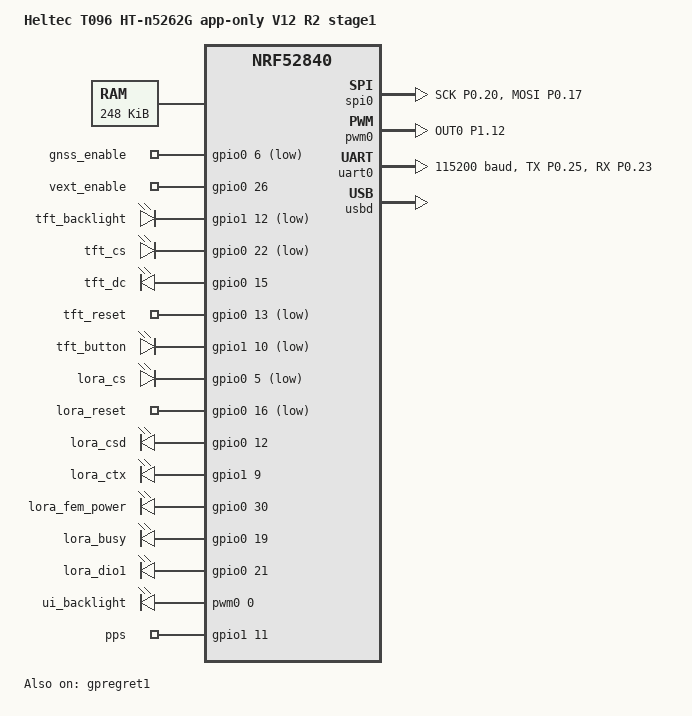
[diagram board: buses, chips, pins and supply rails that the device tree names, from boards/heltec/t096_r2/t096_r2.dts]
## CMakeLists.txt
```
cmake_minimum_required(VERSION 3.20.0)
list(APPEND BOARD_ROOT ${CMAKE_CURRENT_SOURCE_DIR})
# Fund the GM7 normal+fatal interrupt reserve; bounded crash record uses512B retained RAM.
# DC/PC and explicit historical regression keep their original configuration.
if(NOT R2_DC_PROFILE AND NOT R2_PC_PROFILE AND NOT R2_LEGACY_GM_REGRESSION)
 if(DEFINED CONFIG_ISR_STACK_SIZE AND CONFIG_ISR_STACK_SIZE LESS 3072)
  message(FATAL_ERROR "GM7 requires at least3072B ISR stack for bounded fatal capture")
 endif()
 set(CONFIG_ISR_STACK_SIZE 3072 CACHE STRING "GM7 normal and fatal interrupt reserve")
 if(DEFINED CONFIG_EXTRA_EXCEPTION_INFO AND NOT CONFIG_EXTRA_EXCEPTION_INFO)
  message(FATAL_ERROR "GM7 requires fault-entry integer register capture")
 endif()
 set(CONFIG_EXTRA_EXCEPTION_INFO y CACHE STRING "GM7 fault-entry integer registers")
endif()
find_package(Zephyr REQUIRED HINTS $ENV{ZEPHYR_BASE})
# One RC7 application, two runtime roles (GM and RC). USB export is standard.
if(NOT R2_DC_PROFILE AND NOT R2_PC_PROFILE)
 set(R2_RC_PROFILE ON)
endif()
set(R2_USB_SOURCE_STREAM ON)
set(R2_USB_SOF_PROBE ON)
set(R2_USB_REFERENCE_PROBE ON)
project(ptob_t096 VERSION 0.15.338)
option(R2_LEGACY_GM_REGRESSION "Historical GM5/6 regression backend only" OFF)
if(R2_DC_PROFILE OR R2_PC_PROFILE)
 set(R2_GM7_NATIVE OFF)
elseif(R2_LEGACY_GM_REGRESSION)
 set(R2_GM7_NATIVE OFF)
else()
 set(R2_GM7_NATIVE ON)
endif()
option(R2_LORA_PASSIVE_FAST "Explicit default-off RAM_LAB_4_12 image" OFF)
option(R2_LORA_TX_DIAGNOSTIC "Finite non-timing passive PHY TX diagnostic" OFF)
option(R2_LORA_BW_EXPERIMENT "Finite default-off SF7 bandwidth characterization" OFF)
option(R2_LORA_FIXED500_EXPERIMENT "Matched fixed922.4MHz SF11/CR4/8 experiment" OFF)
set(R2_LORA_FIXED500_EVENT_DELAY_NS "0" CACHE STRING "Frozen prior fixed500 event correction in nanoseconds")
if(NOT R2_LORA_FIXED500_EVENT_DELAY_NS MATCHES "^-?[0-9]+$" OR R2_LORA_FIXED500_EVENT_DELAY_NS LESS -1000000000 OR R2_LORA_FIXED500_EVENT_DELAY_NS GREATER 1000000000)
 message(FATAL_ERROR "Fixed500 event correction must be an integer within one second")
endif()
if(NOT R2_LORA_FIXED500_EXPERIMENT AND NOT R2_LORA_FIXED500_EVENT_DELAY_NS EQUAL 0)
 message(FATAL_ERROR "Event correction requires the fixed500 experiment")
endif()
if(R2_LORA_FIXED500_EXPERIMENT AND (NOT R2_LORA_PASSIVE_SLOW OR R2_LORA_PASSIVE_FAST OR R2_LORA_BW_EXPERIMENT OR R2_LORA_TX_DIAGNOSTIC OR R2_DC_PROFILE OR R2_PC_PROFILE))
 message(FATAL_ERROR "Fixed500 requires slow normal GM/RC without another experiment")
endif()
if(R2_LORA_BW_EXPERIMENT AND ((NOT R2_LORA_PASSIVE_FAST AND NOT R2_LORA_PASSIVE_SLOW) OR R2_LORA_TX_DIAGNOSTIC OR R2_DC_PROFILE OR R2_PC_PROFILE))
 message(FATAL_ERROR "Bandwidth experiment requires one normal passive schedule without diagnostic TX")
endif()
if(R2_LORA_TX_DIAGNOSTIC AND (NOT R2_LORA_PASSIVE_FAST OR R2_LORA_PASSIVE_SLOW OR R2_DC_PROFILE OR R2_PC_PROFILE))
 message(FATAL_ERROR "Diagnostic TX requires explicit normal passive fast")
endif()
option(R2_LORA_PASSIVE_SLOW "Production30/120/300, default RX, local TX recovery" OFF)
if(R2_LORA_PASSIVE_FAST AND R2_LORA_PASSIVE_SLOW)
 message(FATAL_ERROR "Select one passive schedule")
endif()
if((R2_LORA_PASSIVE_FAST OR R2_LORA_PASSIVE_SLOW) AND (R2_DC_PROFILE OR R2_PC_PROFILE))
 message(FATAL_ERROR "Passive lab image requires normal GM/RC")
endif()
if(NOT DEFINED R2_LORA_BACKUP_TRANSMITTER_FACTORY)
 set(R2_LORA_BACKUP_TRANSMITTER_FACTORY "0000000000000000")
endif()
string(LENGTH "${R2_LORA_BACKUP_TRANSMITTER_FACTORY}" R2_LORA_BACKUP_LENGTH)
if(NOT R2_LORA_BACKUP_LENGTH EQUAL 16 OR NOT R2_LORA_BACKUP_TRANSMITTER_FACTORY MATCHES "^[0-9a-f]+$")
 message(FATAL_ERROR "Backup LoRa factory must be16 lowercase hex digits")
endif()
option(R2_CONTROLLER_DIAGNOSTICS "Bounded controller diagnostic canary" OFF)
if(R2_CONTROLLER_DIAGNOSTICS AND (R2_DC_PROFILE OR R2_PC_PROFILE))
 message(FATAL_ERROR "Controller diagnostic canary requires normal GM/RC")
endif()
if(R2_DC_PROFILE AND R2_PC_PROFILE)
 message(FATAL_ERROR "DC and PC are separate images")
endif()
if(NOT DEFINED R2_LORA_TRANSMITTER_FACTORY)
 set(R2_LORA_TRANSMITTER_FACTORY "0000000000000000")
endif()
string(LENGTH "${R2_LORA_TRANSMITTER_FACTORY}" R2_LORA_FACTORY_LENGTH)
if(NOT R2_LORA_FACTORY_LENGTH EQUAL 16 OR NOT R2_LORA_TRANSMITTER_FACTORY MATCHES "^[0-9a-f]+$")
 message(FATAL_ERROR "LoRa transmitter factory must be exactly16 lowercase hex digits")
endif()
if(R2_PC_PROFILE)
 include(cmake/power_control.cmake)
 return()
endif()
if(R2_DC_PROFILE)
 include(cmake/direct_connect.cmake)
 return()
endif()
if(R2_USB_SOURCE_STREAM)
 if(NOT R2_USB_SOF_PROBE)
  message(FATAL_ERROR "USB source evidence requires hardware SOF profile")
 endif()
 target_compile_definitions(app PRIVATE R2_USB_SOURCE_STREAM=1)
 target_sources(app PRIVATE src/usb_source.c)
endif()
if(R2_USB_REFERENCE_PROBE)
 if(NOT R2_RC_PROFILE)
  message(FATAL_ERROR "USB API probe requires the separately reviewed RC profile")
 endif()
 target_sources(app PRIVATE src/usb_reference_interface.c)
endif()
if(R2_USB_SOF_PROBE)
 if(NOT R2_USB_REFERENCE_PROBE)
  message(FATAL_ERROR "Raw SOF probe requires the reviewed USB reference interface")
 endif()
 target_compile_definitions(app PRIVATE R2_USB_SOF_PROBE=1)
 target_sources(app PRIVATE src/usb_sof_probe.c src/usb_sof_observer.c)
endif()
foreach(pair R2_SOURCE_SHA R2_CHILD_COMMIT)
  if(NOT ${pair} MATCHES "^[0-9a-f]+$")
    message(FATAL_ERROR "Use v12_r2/tools/build.py for identity-bound builds")
  endif()
endforeach()
if(NOT EXISTS "${R2_ENROLLMENT_HEADER}")
  message(FATAL_ERROR "Local enrollment header required; never include secrets in public source")
endif()
file(SHA256 "${R2_ENROLLMENT_HEADER}" R2_PRIVATE_CONFIG_SHA)
if(NOT R2_LORA_TRANSMITTER_FACTORY STREQUAL "0000000000000000")
 string(SHA256 R2_PRIVATE_CONFIG_SHA "${R2_PRIVATE_CONFIG_SHA}:lora-tx:${R2_LORA_TRANSMITTER_FACTORY}")
endif()
if(R2_LORA_PASSIVE_FAST)
 string(SHA256 R2_PRIVATE_CONFIG_SHA "${R2_PRIVATE_CONFIG_SHA}:lora-passive:RAM_LAB_4_12")
endif()
if(NOT R2_LORA_BACKUP_TRANSMITTER_FACTORY STREQUAL "0000000000000000")
 message(FATAL_ERROR "RAM profile has one designated emitter; automatic backup TX disabled")
endif()
if(R2_LORA_PASSIVE_SLOW)
 string(SHA256 R2_PRIVATE_CONFIG_SHA "${R2_PRIVATE_CONFIG_SHA}:lora-passive:RAM_30_120_300")
 target_compile_definitions(app PRIVATE R2_LORA_PASSIVE_SLOW=1 R2_LORA_BACKUP_TRANSMITTER_FACTORY=0x${R2_LORA_BACKUP_TRANSMITTER_FACTORY}ULL)
endif()
if(R2_LORA_TX_DIAGNOSTIC)
 string(SHA256 R2_PRIVATE_CONFIG_SHA "${R2_PRIVATE_CONFIG_SHA}:tx-diagnostic:1")
 target_compile_definitions(app PRIVATE R2_LORA_TX_DIAGNOSTIC=1)
endif()
if(R2_LORA_FIXED500_EXPERIMENT)
 string(SHA256 R2_PRIVATE_CONFIG_SHA "${R2_PRIVATE_CONFIG_SHA}:fixed500:922400000_SF11_CR8_P30_M300")
 string(SHA256 R2_PRIVATE_CONFIG_SHA "${R2_PRIVATE_CONFIG_SHA}:event-delay-ns:${R2_LORA_FIXED500_EVENT_DELAY_NS}")
 target_compile_definitions(app PRIVATE R2_LORA_FIXED500_EXPERIMENT=1 R2_LORA_FIXED500_EVENT_DELAY_NS=${R2_LORA_FIXED500_EVENT_DELAY_NS})
endif()
if(R2_LORA_BW_EXPERIMENT)
 if(R2_LORA_PASSIVE_SLOW)
  string(SHA256 R2_PRIVATE_CONFIG_SHA "${R2_PRIVATE_CONFIG_SHA}:bw-experiment:SWEEP_SF7_SLOW30_600S_FIXED16_48")
 else()
  string(SHA256 R2_PRIVATE_CONFIG_SHA "${R2_PRIVATE_CONFIG_SHA}:bw-experiment:ABBA_SF7_240S")
 endif()
 target_compile_definitions(app PRIVATE R2_LORA_BW_EXPERIMENT=1)
endif()
file(SHA256 "${PROJECT_BINARY_DIR}/zephyr/.config" R2_KERNEL_CONFIG_SHA)
if(R2_CONTROLLER_DIAGNOSTICS)
 string(SHA256 R2_PRIVATE_CONFIG_SHA "${R2_PRIVATE_CONFIG_SHA}:controller-diag:1")
endif()
string(SHA256 R2_WATCHDOG_BINDING "${R2_SOURCE_SHA}:${R2_PRIVATE_CONFIG_SHA}:${R2_KERNEL_CONFIG_SHA}")
set(R2_CONTROLLER_DIAGNOSTICS_ENABLED ${R2_CONTROLLER_DIAGNOSTICS})
configure_file(include/build_identity.h.in ${CMAKE_CURRENT_BINARY_DIR}/build_identity.h @ONLY)
target_include_directories(app PRIVATE include ${CMAKE_CURRENT_BINARY_DIR})
target_sources(app PRIVATE src/main.c src/board.c src/console.c src/core.c src/bounded_json.c src/platform.c src/clock.c src/nmea.c src/time_service.c src/gnss.c src/ui_render.c src/ui_service.c src/display.c src/timing_events.c src/initiator_diag.c)
target_sources(app PRIVATE src/precision.c src/capture.c src/radio_capture.c src/radio_audit.c src/rc_boundary.c src/rc_shadow.c protocol/precision_codec.c)
if(R2_GM7_NATIVE AND R2_LORA_FIXED500_EXPERIMENT AND CMAKE_C_COMPILER_ID STREQUAL "GNU")
 # Retain generated assertion locations without embedding the local build path.
 zephyr_compile_options("-fmacro-prefix-map=${CMAKE_CURRENT_BINARY_DIR}=R2_BUILD")
endif()
if(R2_GM7_NATIVE)
 if(CONFIG_ARM AND NOT CONFIG_BOARD_NRF52_BSIM)
  target_sources(app PRIVATE src/fault_boot.c src/fault_store.c)
  target_compile_definitions(app PRIVATE R2_FAULT_DURABLE=1)
 endif()
 target_sources(app PRIVATE src/ble_causal_events.c)
 target_compile_definitions(app PRIVATE R2_BLE_CAUSAL_EVENTS=1 R2_UI_PARTIAL_JOBS=1)
endif()
if(R2_GM7_NATIVE AND CONFIG_ARM)
 target_sources(app PRIVATE src/gm7_snapshot_witness.S)
endif()
if(R2_RC_AUTO)
 if(NOT R2_SWITCHABLE_FIELD)
  target_compile_definitions(app PRIVATE R2_RC_AUTO=1)
 endif()
 target_sources(app PRIVATE src/rc_slots.c)
endif()
if(R2_RC_PROFILE)
 if(R2_BOUNDARY_FIELD OR R2_SWITCHABLE_FIELD OR R2_RC_AUTO)
  message(FATAL_ERROR "RC7 profile cannot mix legacy RC diagnostic owners")
 endif()
 target_compile_definitions(app PRIVATE R2_RC_PROFILE=1 R2_SWITCHABLE_FIELD=1)
 if(CONFIG_ARM AND NOT CONFIG_BOARD_NRF52_BSIM)
  target_compile_definitions(app PRIVATE R2_WATCHDOG=1 R2_DISCONNECT_DIAGNOSTICS=1)
  target_sources(app PRIVATE src/watchdog.c src/watchdog_policy.c src/disconnect_diag.c)
  target_include_directories(app PRIVATE ${ZEPHYR_BASE}/subsys/bluetooth/host)
  # Fault-only scalar reader inherits the pinned controller types/configuration.
  target_sources(subsys__bluetooth__controller PRIVATE ${CMAKE_CURRENT_SOURCE_DIR}/src/controller_snapshot.c)
  target_include_directories(subsys__bluetooth__controller PRIVATE ${CMAKE_CURRENT_SOURCE_DIR}/include)
 endif()
 set_source_files_properties(src/ble_service.c src/gm7_service.c PROPERTIES COMPILE_DEFINITIONS R2_NORMAL_BACKEND=1)
 set_source_files_properties(src/rc_dynamic_service.c PROPERTIES COMPILE_DEFINITIONS "R2_DYNAMIC_BACKEND=1;R2_RC_DYNAMIC=1")
 set_source_files_properties(src/rc_shadow.c PROPERTIES COMPILE_DEFINITIONS R2_SHADOW_FIELD_MAP=1)
 target_sources(app PRIVATE src/rc_profile_service.c src/rc_dynamic_service.c src/rc_slots.c protocol/rc_dynamic.c)
 target_sources(app PRIVATE src/rc_unicast.c protocol/unicast_time.c)
 zephyr_link_libraries(-Wl,--undefined=r2_uc_contract)
 target_sources(app PRIVATE src/radio_precision.c src/radio_service.c src/relay_precision.c src/relay_service.c protocol/relay_codec.c)
elseif(R2_BOUNDARY_FIELD)
 if(NOT R2_SWITCHABLE_FIELD)
  target_compile_definitions(app PRIVATE R2_BOUNDARY_FIELD=1)
 endif()
 target_sources(app PRIVATE src/rc_field_service.c src/rc_gm_adapter.c protocol/relay_codec.c)
 if(R2_SWITCHABLE_FIELD)
  target_compile_definitions(app PRIVATE R2_SWITCHABLE_FIELD=1)
  set_source_files_properties(src/ble_service.c src/gm7_service.c PROPERTIES COMPILE_DEFINITIONS R2_NORMAL_BACKEND=1)
  set_source_files_properties(src/rc_field_service.c PROPERTIES COMPILE_DEFINITIONS "R2_FIELD_BACKEND=1;R2_BOUNDARY_FIELD=1;R2_RC_AUTO=1")
  set_source_files_properties(src/rc_boundary.c src/rc_gm_adapter.c src/rc_slots.c PROPERTIES COMPILE_DEFINITIONS R2_RC_AUTO=1)
  set_source_files_properties(src/rc_shadow.c PROPERTIES COMPILE_DEFINITIONS R2_SHADOW_FIELD_MAP=1)
  target_sources(app PRIVATE src/service_switch.c src/ble_service.c src/radio_precision.c src/radio_service.c src/relay_precision.c src/relay_service.c protocol/network.c protocol/ble_transport.c protocol/authority_codec.c src/group_admission.c)
 endif()
else()
 target_sources(app PRIVATE src/radio_precision.c src/radio_service.c src/relay_precision.c src/relay_service.c protocol/relay_codec.c)
endif()
target_include_directories(app PRIVATE ${ZEPHYR_BASE}/subsys/bluetooth/controller/ll_sw/nordic/hal/nrf5/radio)
# Exact pinned clock provenance correction and merged upstream ticker teardown fix.
include(cmake/usb_ep0_recovery.cmake)
include(cmake/clock_handoff.cmake)
include(cmake/ticker_backport.cmake)
include(cmake/radio_capture.cmake)
include(cmake/precision_schedule.cmake)
include(cmake/controller_diag.cmake)
include(cmake/controller-radio-fixes.cmake)
include(cmake/scan-aux-context.cmake)
include(cmake/usb-cdc-recovery.cmake)
include(cmake/gm7.cmake)
target_compile_options(app PRIVATE -Wall -Wextra -Werror -Wno-unused-parameter)

target_compile_definitions(app PRIVATE R2_NATIVE_BLE=1)
if(R2_RC_PROFILE AND NOT R2_PC_PROFILE)
 target_compile_definitions(app PRIVATE R2_GM5_NATIVE=1)
endif()
target_include_directories(app PRIVATE protocol)
target_sources(app PRIVATE src/diagnostic.c src/health.c protocol/election_policy.c)
# RC8 is a separate secondary estimate. The enrolled factory binding gates startup.
target_compile_definitions(app PRIVATE R2_LORA=1)
target_sources(app PRIVATE protocol/lora_rc8.c src/lora_rc8_policy.c src/lora_source.c src/lora_hw.c)
if(R2_LORA_PASSIVE_FAST OR R2_LORA_PASSIVE_SLOW)
 if(R2_LORA_PASSIVE_FAST)
  target_compile_definitions(app PRIVATE R2_LORA_PASSIVE_FAST=1)
 endif()
 target_sources(app PRIVATE protocol/lora_passive.c src/lora_passive_core.c src/lora_passive_service.c)
 if(R2_LORA_FIXED500_EXPERIMENT)
  target_sources(app PRIVATE src/lora_receiver_watch.c)
 endif()
else()
 target_sources(app PRIVATE src/lora_service.c)
endif()
if(NOT R2_BOUNDARY_FIELD)
 if(R2_GM7_NATIVE)
  target_sources(app PRIVATE src/gm7_service.c protocol/network.c protocol/ble_transport.c protocol/authority_codec.c)
 else()
  target_sources(app PRIVATE src/ble_service.c protocol/network.c protocol/ble_transport.c protocol/authority_codec.c)
 endif()
endif()

configure_file(${R2_ENROLLMENT_HEADER} ${CMAKE_CURRENT_BINARY_DIR}/r2_enrollment.h COPYONLY)

target_sources(app PRIVATE protocol/gm_diagnostics.c protocol/group_join.c protocol/group_auth.c protocol/group_control.c protocol/group_precision.c protocol/role_announcement.c protocol/gnss_diagnostics.c)

if(NOT R2_BOUNDARY_FIELD)
 target_sources(app PRIVATE src/group_admission.c)
endif()

# Generated from the shared registry, display-only.
target_compile_definitions(app PRIVATE PTOB_NAME_REGISTRY=1)
```

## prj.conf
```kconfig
# Stage 1: stock initialization only. No advertising, scan, connection or flash commands.
CONFIG_BT=y
CONFIG_BT_LL_SW_SPLIT=y
CONFIG_BT_PERIPHERAL=y
CONFIG_BT_SMP=n
CONFIG_BT_SETTINGS=n
CONFIG_BT_MAX_CONN=4
CONFIG_BT_DEVICE_NAME="T096 R2 BLE 0.4"
CONFIG_BT_CTLR_PHY_2M=n
CONFIG_BT_CTLR_PHY_CODED=n
CONFIG_BT_CTLR_DF=n
CONFIG_CLOCK_CONTROL_NRF_K32SRC_RC=y
CONFIG_CLOCK_CONTROL_NRF_K32SRC_500PPM=y
CONFIG_CLOCK_CONTROL_NRF_K32SRC_RC_CALIBRATION=y
CONFIG_USB_DEVICE_STACK=y
CONFIG_USB_DEVICE_PRODUCT="T096 V12 R2 BLE 0.4"
CONFIG_USB_DEVICE_MANUFACTURER="PToB experiment"
CONFIG_USB_DEVICE_SN="TC-00-0000000000000000"
CONFIG_USB_CDC_ACM=y
CONFIG_UART_INTERRUPT_DRIVEN=y
CONFIG_UART_LINE_CTRL=y
CONFIG_UART_ASYNC_API=y
CONFIG_UART_0_INTERRUPT_DRIVEN=n
CONFIG_UART_0_ASYNC=y
CONFIG_UART_NRFX_UARTE_ENHANCED_RX=y
CONFIG_UART_0_ENHANCED_POLL_OUT=n
CONFIG_UART_0_NRF_HW_ASYNC=n
CONFIG_CONSOLE=n
CONFIG_UART_CONSOLE=n
CONFIG_STDOUT_CONSOLE=n
CONFIG_SHELL=n
CONFIG_LOG=n
CONFIG_PRINTK=n
CONFIG_BOOT_BANNER=n
CONFIG_MAIN_STACK_SIZE=8192
# Reclaim3KiB from an observed >7KiB-unused workqueue stack for RX headroom.
# Retain5KiB here; runtime stack high-water diagnostics remain enabled.
CONFIG_SYSTEM_WORKQUEUE_STACK_SIZE=5120
CONFIG_BT_RX_STACK_SIZE=2048
CONFIG_BT_HCI_TX_STACK_SIZE=1024
CONFIG_HEAP_MEM_POOL_SIZE=0
CONFIG_ASSERT=y
CONFIG_THREAD_STACK_INFO=y
CONFIG_THREAD_NAME=y
CONFIG_HWINFO=y
CONFIG_ENTROPY_GENERATOR=y
CONFIG_REBOOT=y
CONFIG_RETAINED_MEM=y
CONFIG_RETAINED_MEM_NRF_GPREGRET=y
CONFIG_RETAINED_MEM_MUTEX_FORCE_DISABLE=y
# Preserve the planned credential area plus existing diagnostic banks. No writes in stage 1.
CONFIG_ROM_END_OFFSET=0x6000
CONFIG_FLASH=y
CONFIG_FLASH_PAGE_LAYOUT=y
CONFIG_SPI=y
CONFIG_SPI_ASYNC=y
CONFIG_SPI_COMPLETION_TIMEOUT_TOLERANCE=10
CONFIG_POLL=y
CONFIG_PWM=y
CONFIG_BUILD_OUTPUT_BIN=y
CONFIG_BUILD_OUTPUT_HEX=y

# Native connected coarse-service profile; no periodic precision train.
CONFIG_BT_CENTRAL=y
CONFIG_BT_OBSERVER=y
CONFIG_BT_MAX_PAIRED=0
CONFIG_BT_GATT_CLIENT=y
CONFIG_BT_L2CAP_TX_MTU=226
CONFIG_BT_BUF_ACL_RX_SIZE=230
CONFIG_BT_BUF_ACL_TX_SIZE=230
CONFIG_BT_BUF_ACL_TX_COUNT=12
CONFIG_BT_CONN_TX_MAX=12
CONFIG_BT_ATT_TX_COUNT=12
CONFIG_BT_CREATE_CONN_TIMEOUT=2
CONFIG_BT_CTLR_DATA_LENGTH_MAX=230
CONFIG_BT_USER_DATA_LEN_UPDATE=y
CONFIG_BT_BUF_EVT_RX_COUNT=20
# Legacy initiation with channel-selection2 requires FOUR free LLL RX nodes.
# The default one extra RX buffer leaves only five total, shared with scan,
# AUX and periodic reporting. Real matching GM advertisements were repeatedly
# rejected with ENOBUFS before CONNECT_IND. Reserve headroom without changing
# controller decisions, assertions, packet size, MTU or timing reservations.
CONFIG_BT_CTLR_RX_BUFFERS=8
CONFIG_BT_CTLR_LOW_LAT=n
# Use the stock controller's abort/skip path for a late event preparation.
# All other assertions remain enabled; authority and disconnect deadlines do not change.
CONFIG_BT_CTLR_ASSERT_OVERHEAD_START=n
CONFIG_BT_CTLR_ADVANCED_FEATURES=y
CONFIG_BT_GAP_AUTO_UPDATE_CONN_PARAMS=n
CONFIG_BT_AUTO_DATA_LEN_UPDATE=y

# Stock Bluetooth requires a cooperative system workqueue.
CONFIG_SYSTEM_WORKQUEUE_PRIORITY=-1

CONFIG_POWEROFF=y
CONFIG_SOC_FLASH_NRF_RADIO_SYNC_TICKER=y
CONFIG_SOC_FLASH_NRF_PARTIAL_ERASE=y
CONFIG_SOC_FLASH_NRF_PARTIAL_ERASE_MS=2

# Dedicated application PPS capture. Controller TIMER0/1 remain unchanged.
CONFIG_NRFX_TIMER3=y
CONFIG_NRFX_PPI=y

# Queryable main/system BLE workqueue high-water measurements.
CONFIG_INIT_STACKS=y

# Complete 158-byte 1M periodic precision train alongside connected control.
CONFIG_BT_EXT_ADV=y
CONFIG_BT_EXT_ADV_MAX_ADV_SET=2
CONFIG_BT_PER_ADV=y
CONFIG_BT_CTLR_ADV_SYNC_SET=2
CONFIG_BT_PER_ADV_SYNC=y
CONFIG_BT_PER_ADV_SYNC_MAX=1
CONFIG_BT_PER_ADV_SYNC_BUF_SIZE=191
CONFIG_BT_CTLR_ADV_DATA_CHAIN=n
CONFIG_BT_CTLR_ADV_DATA_LEN_MAX=191
CONFIG_BT_CTLR_SCAN_DATA_LEN_MAX=191
CONFIG_BT_BUF_EVT_RX_SIZE=255
CONFIG_BT_CTLR_SCAN_AUX_SYNC_RESERVE_MIN=n

# Expose existing LFRC temperature-cycle counters; no additional TEMP owner.
CONFIG_CLOCK_CONTROL_NRF_CALIBRATION_DEBUG=y

# Stock controller expiry metadata avoids deferred auxiliary-offset search.
CONFIG_BT_TICKER_EXT_EXPIRE_INFO=y
CONFIG_BT_TICKER_PRIORITY_SET=y

CONFIG_TINYCRYPT=y
CONFIG_TINYCRYPT_SHA256=y
CONFIG_TINYCRYPT_SHA256_HMAC=y

# Retain compiler frame sizes for every application/controller translation unit.
CONFIG_STACK_USAGE=y

# Public Cortex-M DWT cycle timing for bounded application lock diagnostics.
CONFIG_TIMING_FUNCTIONS=y
CONFIG_CORTEX_M_DWT=y
```

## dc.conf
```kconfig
# Copyright (c) 2026 Jonathan Yantis. SPDX-License-Identifier: MIT
# Independent GNSS/PPS -> TIMER3 -> hardware USB SOF -> macOS image.
CONFIG_BT=n
CONFIG_CLOCK_CONTROL_NRF_K32SRC_SYNTH=y
CONFIG_CLOCK_CONTROL_NRF_K32SRC_500PPM=y
CONFIG_NRFX_TEMP=y
CONFIG_USB_DEVICE_STACK=y
CONFIG_USB_DEVICE_PRODUCT="T096 Direct Connect GNSS USB"
CONFIG_USB_DEVICE_MANUFACTURER="PToB experiment"
CONFIG_USB_DEVICE_SN="TC-00-0000000000000000"
CONFIG_USB_CDC_ACM=y
CONFIG_USB_NRFX_WORK_QUEUE_STACK_SIZE=2048
CONFIG_UART_INTERRUPT_DRIVEN=y
CONFIG_UART_LINE_CTRL=y
CONFIG_UART_ASYNC_API=y
CONFIG_UART_0_INTERRUPT_DRIVEN=n
CONFIG_UART_0_ASYNC=y
CONFIG_UART_NRFX_UARTE_ENHANCED_RX=y
CONFIG_UART_0_ENHANCED_POLL_OUT=n
CONFIG_UART_0_NRF_HW_ASYNC=n
CONFIG_CONSOLE=n
CONFIG_UART_CONSOLE=n
CONFIG_STDOUT_CONSOLE=n
CONFIG_SHELL=n
CONFIG_LOG=n
CONFIG_PRINTK=n
CONFIG_BOOT_BANNER=n
CONFIG_MAIN_STACK_SIZE=8192
CONFIG_SYSTEM_WORKQUEUE_STACK_SIZE=5120
CONFIG_HEAP_MEM_POOL_SIZE=0
CONFIG_ASSERT=y
CONFIG_THREAD_STACK_INFO=y
CONFIG_THREAD_NAME=y
CONFIG_INIT_STACKS=y
CONFIG_HWINFO=y
CONFIG_ENTROPY_GENERATOR=y
CONFIG_REBOOT=y
CONFIG_RETAINED_MEM=y
CONFIG_RETAINED_MEM_NRF_GPREGRET=y
CONFIG_RETAINED_MEM_MUTEX_FORCE_DISABLE=y
CONFIG_ROM_END_OFFSET=0x6000
CONFIG_FLASH=y
CONFIG_FLASH_PAGE_LAYOUT=y
CONFIG_SPI=y
CONFIG_SPI_ASYNC=y
CONFIG_SPI_COMPLETION_TIMEOUT_TOLERANCE=10
CONFIG_POLL=y
CONFIG_PWM=y
CONFIG_BUILD_OUTPUT_BIN=y
CONFIG_BUILD_OUTPUT_HEX=y
CONFIG_POWEROFF=y
CONFIG_NRFX_TIMER3=y
CONFIG_NRFX_PPI=y
CONFIG_STACK_USAGE=y
CONFIG_TIMING_FUNCTIONS=y
CONFIG_CORTEX_M_DWT=y
CONFIG_WATCHDOG=y
CONFIG_WDT_NRFX=y
CONFIG_WDT_NRFX_NO_IRQ=y
CONFIG_TASK_WDT=n
```

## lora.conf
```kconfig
# Normal GM/RC only. DC and awake PC do not acquire this radio owner.
CONFIG_NRFX_TIMER4=y
```

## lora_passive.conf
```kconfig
# Executable ends at0xd7000; separate app-owned32KiB ledger follows it.
CONFIG_ROM_END_OFFSET=0
```

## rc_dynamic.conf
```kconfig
# RC7 capability projection fits the existing 191-byte advertising limit.
# Keep chaining OFF and preserve GM reservations, connections and MTU.
```

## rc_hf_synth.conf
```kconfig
# Explicit RC7 lab image option. Stock Zephyr requests HFXO for synthesized LF.
# Preserve the conservative 500ppm declaration and all controller reservations.
CONFIG_CLOCK_CONTROL_NRF_K32SRC_RC=n
CONFIG_CLOCK_CONTROL_NRF_K32SRC_SYNTH=y
CONFIG_CLOCK_CONTROL_NRF_K32SRC_RC_CALIBRATION=n
CONFIG_CLOCK_CONTROL_NRF_CALIBRATION_DEBUG=n
# Sole bounded UI temperature owner; Zephyr TEMP and LFRC owners remain absent.
CONFIG_NRFX_TEMP=y
```

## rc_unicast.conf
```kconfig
# Four UCS1 peers plus two reserved upstream/transient control connections.
# One discovery set; existing TX pools and RC7/GM periodic sets remain intact.
CONFIG_BT_EXT_ADV_MAX_ADV_SET=3
CONFIG_BT_ID_MAX=2
CONFIG_BT_MAX_CONN=6
```

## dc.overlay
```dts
/* Copyright (c) 2026 Jonathan Yantis. SPDX-License-Identifier: MIT */
&zephyr_udc0 {
 cdc_acm_gnss: cdc_acm_gnss {
  compatible = "zephyr,cdc-acm-uart";
  label = "PToB DC GNSS";
 };
};
```

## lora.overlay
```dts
/* Driver-owned SPIM1 IRQ4 priority6, below controller timing interrupts. */
&spi1 { status = "okay"; interrupts = <4 6>; };
```

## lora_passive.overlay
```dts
/* Fast lab variant: shrink executable allocation; preserve all existing tails. */
&spi1 { status = "okay"; interrupts = <4 6>; };
&code_partition { reg = <0x26000 0xb1000>; };
&flash0 { partitions {
 lora_passive_state: partition@d7000 {label = "passive_lora_state"; reg = <0xd7000 0x8000>;};
}; };
```

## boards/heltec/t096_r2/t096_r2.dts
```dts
/dts-v1/;
#include <nordic/nrf52840_qiaa.dtsi>
#include <zephyr/dt-bindings/gpio/gpio.h>
#include <zephyr/dt-bindings/pinctrl/nrf-pinctrl.h>
#include <zephyr/dt-bindings/pwm/pwm.h>

/ {
  model = "Heltec T096 HT-n5262G app-only V12 R2 stage1";
  compatible = "heltec,t096-v12";
  chosen {
    zephyr,sram = &app_sram;
    zephyr,flash = &flash0;
    zephyr,code-partition = &code_partition;
    zephyr,console = &cdc_acm_uart0;

  };
  app_sram: memory@20002000 {
    compatible = "mmio-sram"; device_type = "memory";
    reg = <0x20002000 0x3e000>;
  };
  app_pins {
    compatible = "gpio-leds";
    gnss_enable: gnss_enable { gpios = <&gpio0 6 GPIO_ACTIVE_LOW>; };
    vext_enable: vext_enable { gpios = <&gpio0 26 GPIO_ACTIVE_HIGH>; };
    tft_backlight: tft_backlight { gpios = <&gpio1 12 GPIO_ACTIVE_LOW>; };
    tft_cs: tft_cs { gpios = <&gpio0 22 GPIO_ACTIVE_LOW>; };
    tft_dc: tft_dc { gpios = <&gpio0 15 GPIO_ACTIVE_HIGH>; };
    tft_reset: tft_reset { gpios = <&gpio0 13 GPIO_ACTIVE_LOW>; };
    tft_button: tft_button { gpios = <&gpio1 10 GPIO_ACTIVE_LOW>; };
    lora_cs: lora_cs { gpios = <&gpio0 5 GPIO_ACTIVE_LOW>; };
    lora_reset: lora_reset { gpios = <&gpio0 16 GPIO_ACTIVE_LOW>; };
    lora_csd: lora_csd { gpios = <&gpio0 12 GPIO_ACTIVE_HIGH>; };
    lora_ctx: lora_ctx { gpios = <&gpio1 9 GPIO_ACTIVE_HIGH>; };
    lora_fem_power: lora_fem_power { gpios = <&gpio0 30 GPIO_ACTIVE_HIGH>; };
    lora_busy: lora_busy { gpios = <&gpio0 19 GPIO_ACTIVE_HIGH>; };
    lora_dio1: lora_dio1 { gpios = <&gpio0 21 GPIO_ACTIVE_HIGH>; };
  };
  backlight_pwm {
    compatible = "pwm-leds";
    ui_backlight: ui_backlight { pwms = <&pwm0 0 PWM_MSEC(1) PWM_POLARITY_INVERTED>; };
  };
  pps_pin {
    compatible = "gpio-keys";
    pps: pps { gpios = <&gpio1 11 GPIO_ACTIVE_HIGH>; };
  };
};

/* Match the existing raw application layout, including low8KiB MBR RAM.
 * No stock DK GPIO/flash layout, UICR patch, or sibling board is inherited. */
&sram0 { status = "disabled"; };
&flash0 {
  partitions {
    compatible = "fixed-partitions";
    #address-cells = <1>; #size-cells = <1>;
    resident_partition: partition@0 {
      label = "resident_mbr_s140"; read-only; reg = <0x0 0x26000>;
    };
    code_partition: partition@26000 {
      label = "v12_application"; reg = <0x26000 0xbf000>;
    };
    journal_partition: partition@e5000 {
      label = "existing_cache_journal"; read-only; reg = <0xe5000 0x8000>;
    };
    protected_partition: partition@ed000 {
      label = "protected_recovery_boot"; read-only; reg = <0xed000 0x13000>;
    };
  };
};
&gpio0 { status = "okay"; };
&gpio1 { status = "okay"; };
&gpiote { status = "okay"; };
&pinctrl {
  display_spi_default: display_spi_default {
    group1 { psels = <NRF_PSEL(SPIM_SCK, 0, 20)>, <NRF_PSEL(SPIM_MOSI, 0, 17)>; };
  };
  display_spi_sleep: display_spi_sleep {
    group1 { psels = <NRF_PSEL(SPIM_SCK, 0, 20)>, <NRF_PSEL(SPIM_MOSI, 0, 17)>; low-power-enable; };
  };
  display_pwm_default: display_pwm_default {
    group1 { psels = <NRF_PSEL(PWM_OUT0, 1, 12)>; nordic,invert; };
  };
  display_pwm_sleep: display_pwm_sleep {
    group1 { psels = <NRF_PSEL(PWM_OUT0, 1, 12)>; low-power-enable; };
  };
  gnss_uart_default: gnss_uart_default {
    group1 { psels = <NRF_PSEL(UART_TX, 0, 25)>, <NRF_PSEL(UART_RX, 0, 23)>; };
  };
  gnss_uart_sleep: gnss_uart_sleep {
    group1 {
      psels = <NRF_PSEL(UART_TX, 0, 25)>, <NRF_PSEL(UART_RX, 0, 23)>;
      low-power-enable;
    };
  };
  lora_spi_default: lora_spi_default {
    group1 {
      psels = <NRF_PSEL(SPIM_SCK, 1, 8)>, <NRF_PSEL(SPIM_MOSI, 0, 11)>,
              <NRF_PSEL(SPIM_MISO, 0, 14)>;
    };
  };
  lora_spi_sleep: lora_spi_sleep {
    group1 {
      psels = <NRF_PSEL(SPIM_SCK, 1, 8)>, <NRF_PSEL(SPIM_MOSI, 0, 11)>,
              <NRF_PSEL(SPIM_MISO, 0, 14)>;
      low-power-enable;
    };
  };
};
&spi0 {
  /* SPIM0 IRQ3 at priority6: below BLE controller work. */
  interrupts = <3 6>;
  compatible = "nordic,nrf-spim"; status = "okay";
  pinctrl-0 = <&display_spi_default>; pinctrl-1 = <&display_spi_sleep>;
  pinctrl-names = "default", "sleep";
};
&pwm0 {
  status = "okay";
  interrupts = <28 6>;
  pinctrl-0 = <&display_pwm_default>; pinctrl-1 = <&display_pwm_sleep>;
  pinctrl-names = "default", "sleep";
};
/* Driver-owned SPIM1/DMA/IRQ. There is no SPI transaction or radio command
 * at boot; the unqualified SX1262 stays reset with its FEM disabled. */
&spi1 {
  compatible = "nordic,nrf-spim";
  status = "disabled";
  pinctrl-0 = <&lora_spi_default>; pinctrl-1 = <&lora_spi_sleep>;
  pinctrl-names = "default", "sleep";
};
&uart0 {
  compatible = "nordic,nrf-uarte";
  status = "okay"; current-speed = <115200>;
  /* UC6580 must be powered before the public driver starts EasyDMA RX. */
  zephyr,deferred-init;
  pinctrl-0 = <&gnss_uart_default>; pinctrl-1 = <&gnss_uart_sleep>;
  pinctrl-names = "default", "sleep";
};
zephyr_udc0: &usbd {
  compatible = "nordic,nrf-usbd"; status = "okay";
  cdc_acm_uart0: cdc_acm_uart0 { compatible = "zephyr,cdc-acm-uart"; };
};
/* TIMER3 is reserved for a later controller-safe PPS/capture adapter. No
 * TIMER3/PPI/RADIO capture route is installed by this transport milestone. */
&timer3 { status = "disabled"; };
/* Application nrfx TIMER4 only: LoRa FEM cutoff, never timing capture. */
&timer4 { status = "disabled"; };

/* Public retained-memory owner for resident bootloader request only. */
&gpregret1 { status = "okay"; };
&gpregret2 { status = "disabled"; };
```

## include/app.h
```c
/* SPDX-License-Identifier: Apache-2.0 */
#ifndef R2_APP_H
#define R2_APP_H
#include "core.h"
#include <zephyr/kernel.h>
struct r2_identity { char silicon[17], unit[6]; uint64_t boot; int battery, result; uint32_t reset_cause; };
struct r2_command { uint64_t arrival; char text[R2_COMMAND_BYTES]; };
struct r2_io { uint32_t rx_bytes, tx_bytes, rx_overflow, command_drops, tx_drops, tx_expired, fifo_errors, usb_events, dtr_changes,note_drops; int usb_rc; bool dtr; };
struct r2_platform { int clock_request, clock_result, clock_release, clock_status, bt_result, bt_submit, close_result; uint64_t clock_start, clock_end, bt_start, bt_end, close_end; bool clock_done, bt_done, close_done; };
int r2_board_safe(void);
void r2_identify(struct r2_identity *id);
int r2_bootloader_request(void);
int r2_board_poweroff(void);
void r2_platform_start(void);
int r2_platform_close(void);
void r2_platform_snapshot(struct r2_platform *out);
void r2_console_start(void);
bool r2_console_get(struct r2_command *out);
int r2_console_reply(const char *bytes, size_t size, uint64_t expiry);
/* Optional diagnostics: nonblocking, DTR-only, empty queue; never a reply. */
int r2_console_note(const char *bytes,size_t size,uint64_t expiry);
void r2_console_snapshot(struct r2_io *out);
#endif
```

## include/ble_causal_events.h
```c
/* Copyright(c)2026 Jonathan Yantis. SPDX-License-Identifier: MIT */
#pragma once
#include <stdbool.h>
#include <stddef.h>
#include <stdint.h>
/* Descriptive only. No member can be consumed as clock/source permission. */
enum r2_ble_causal_flag {
  R2_BLE_AVAILABLE = 1u << 0,
  R2_BLE_FOLLOWING = 1u << 1,
  R2_BLE_CAPTURED = 1u << 2,
  R2_BLE_MANAGED = 1u << 3,
  R2_BLE_STOPPED = 1u << 4,
  R2_BLE_BOUND = 1u << 5,
  R2_BLE_SCOPE_EQUAL = 1u << 6,
  R2_BLE_HEADER_KNOWN = 1u << 7,
  R2_BLE_MATCHED_KNOWN = 1u << 8,
  R2_BLE_MODEL_KNOWN = 1u << 9,
  R2_BLE_REASON_KNOWN = 1u << 10,
  R2_BLE_RETIRED = 1u << 11,
  R2_BLE_SAMPLE_KNOWN = 1u << 12,
  R2_BLE_OUTPUT_VALID = 1u << 13,
  R2_BLE_SERVO_FAULT = 1u << 14,
  R2_BLE_HEADER_MATCHES = 1u << 15
};
#define R2_BLE_PRIMARY_SHIFT 16u
#define R2_BLE_KIND_SHIFT 24u
#define R2_BLE_PRIMARY(r) (((r).flags >> R2_BLE_PRIMARY_SHIFT) & 255u)
#define R2_BLE_KIND(r) (((r).flags >> R2_BLE_KIND_SHIFT) & 255u)
enum r2_ble_causal_kind {
  R2_BLE_ACQUIRING = 1,
  R2_BLE_ACQUIRED,
  R2_BLE_LOSS,
  R2_BLE_CAUSE_CHANGE,
  R2_BLE_CONTEXT_CHANGE,
  R2_BLE_RECOVERY
};
enum r2_ble_causal_primary {
  R2_BLE_P_NONE,
  R2_BLE_P_CONTROL,
  R2_BLE_P_CAPTURE,
  R2_BLE_P_PHYSICAL,
  R2_BLE_P_DATA,
  R2_BLE_P_OUTPUT,
  R2_BLE_P_FIT,
  R2_BLE_P_KERNEL,
  R2_BLE_P_UTC,
  R2_BLE_P_UNKNOWN,
  R2_BLE_P_CONTROL_PERMISSION,
  R2_BLE_P_MULTIPLE
};
#define R2_BLE_WHY_RETIRED (1u << 19)
#define R2_BLE_WHY_SCOPE_DIFFERENT (1u << 20)
struct r2_ble_causal_record {
  uint64_t sample_us, commit_us, tick, epoch, root, boot, physical_until, data_until, last_accepted;
  uint64_t grant_root, grant_boot, grant_until;
  uint64_t header_root, header_boot, header_tick, header_epoch, header_created, header_expires;
  uint64_t scope_until, effective_until, matched_created, matched_expires, publication_epoch;
  int64_t model_source_ns, header_offset;
  uint32_t source, train, capture, grant_source, grant_train, grant_capture;
  uint32_t header_source, header_train, header_capture, header_publication;
  uint32_t why, flags, sequence, incident, rms_ns, quality_bins, reason, generation, caller_pc;
};
_Static_assert(sizeof(struct r2_ble_causal_record) == 280, "Fixed descriptive record");
/* First LOSS since physical boot. Immutable even when later episodes rotate. */
struct r2_ble_causal_first {
  uint64_t root, boot, detected_us, tick, epoch;
  uint32_t source, train, capture, primary_flags, reason, caller_pc;
};
_Static_assert(sizeof(struct r2_ble_causal_first) == 64, "Fixed first-loss summary");
struct r2_ble_causal_meta {
  uint64_t last_seen_us, last_seen_tick, drain_due_ms;
  uint32_t observations, losses, recoveries, cause_changes, context_changes, repeats;
  uint32_t coalesced, journal_attempts, serial, first_sequence, flags, atomic_refreshes;
};
_Static_assert(sizeof(struct r2_ble_causal_meta) == 72, "Fixed counters/rate state");
#if defined(R2_BLE_CAUSAL_EVENTS)
void r2_ble_causal_observe(const struct r2_ble_causal_record *);
void r2_ble_causal_atomic_refresh(void);
void r2_ble_causal_poll(uint64_t physical_boot, uint64_t now_ms);
int r2_ble_causal_json(char *, size_t, uint64_t physical_boot, unsigned page);
void r2_ble_causal_snapshot(unsigned slot, struct r2_ble_causal_record *,
                            struct r2_ble_causal_first *, struct r2_ble_causal_meta *);
#else
static inline void r2_ble_causal_observe(const struct r2_ble_causal_record *r) { (void)r; }
static inline void r2_ble_causal_poll(uint64_t b, uint64_t n) {
  (void)b;
  (void)n;
}
static inline int r2_ble_causal_json(char *s, size_t n, uint64_t b, unsigned p) {
  (void)s;
  (void)n;
  (void)b;
  (void)p;
  return -1;
}
#endif
```

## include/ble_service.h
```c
/* SPDX-License-Identifier: Apache-2.0 */
#pragma once
#include "ui_read.h"
#include "../protocol/time_zone.h"
#include "service_backend_alias.h"
#define R2_FIELD_CLIENT_WINDOW_US 450000u /* explicit FIELD450_QUIET500_V1 treatment */
#include "app.h"
#include "ui.h"
#include "network.h"
#include "ble_transport.h"
#include "radio_precision.h"
#include "relay_service.h"
#include "../protocol/relay_admission.h"
#include "rc_boundary.h"
struct r2_enrollment {
 struct r2_group_config group;uint8_t local_capabilities;
 bool rc_dynamic,rc7_leaf,rc7_exclude_direct_gm,rc7_boot_rc;
 uint64_t rc7_boot_parent; /* Optional diagnostic selector; GM entry clears RAM copy. */
 struct rc5_routes auto_routes; /* Immutable optional two-RC field topology. */
 bool boundary_field; /* Explicit RC5 field image; autonomous path unchanged. */
 uint8_t boundary_profile; /* Reviewed identity-bound test roster; no live switch. */
 bool field_profile; /* FIELD_TC01_TC02_TC03_V1: explicit image opt-in. */
 uint64_t identity[4];
 uint8_t address[4][6],key[4][4][16];
 unsigned count;
 uint8_t gm_mask,gnss_mask;
 uint32_t map_bound_us;
};
/* Bounded RAM diagnostics, not reset-retained. All access under service lock.
 * state0 idle,1 queued,2 executing; fault site1 busy-age,2 drain,3 enqueue. */
struct r2_supervision {
 uint64_t submitted,started,fault_at,fault_submitted,fault_started;
 uint32_t queue_max_us,late_queues;
 uint8_t state,fault_site,fault_state;
 uint64_t stage_at,fault_stage_at;
 uint32_t stage_max_us[7],owner_max_us;
 uint8_t stage,fault_stage;
};
struct r2_service_status {
#if defined(R2_RC_DYNAMIC_FIXTURE)
 /* Model-only owner publication of actual reservation, no native RAM/wire. */
 uint64_t fixture_pair_root_identity,fixture_pair_standby_identity,fixture_pair_root_boot,fixture_pair_standby_boot;
#endif
 uint64_t direct_path[4]; /* poor, last corrected progress us, leased parent, lease expiry us */
 bool profile_rc,profile_pending,profile_target_rc;uint8_t profile_phase;uint32_t profile_changes;uint64_t profile_incarnation;
 struct r2_supervision supervision;
 struct r2_transport_fault transport_fault;
 uint64_t identities[4],group_id;uint32_t key_epoch;uint8_t authenticated_mask;char name[25],peer_names[4][25];
 bool group_member,public_client;
 uint8_t membership_mask;bool standby_authorized,takeover_pending;
 uint64_t root_health_at,takeover_started,takeover_not_before,authority_until;
 struct r2_radio_precision_view precision;
 struct r2_relay_status relay;
 uint64_t relay_session,activation_until;bool boundary_field; /* Explicit RC5 field image; autonomous path unchanged. */
 uint8_t boundary_profile; /* Reviewed identity-bound test roster; no live switch. */
 bool field_profile;
 bool relay_pending;
 enum r2_relay_pending_reason relay_pending_reason;
 uint64_t relay_request_until;
 uint64_t at,deadline,close_deadline,closed_at,follower_utc,service_until,root_boot;
 uint64_t source_frame_ns,time_sampled_us;
 uint64_t display_coarse_utc,display_coarse_at;bool display_coarse_valid;
 uint64_t hot_withdrawal_at;uint32_t hot_withdrawals,hot_withdrawal_reason;
 uint64_t role_until,standby_boot,pair_until,management_until,source_evidence;
 uint32_t pair_epoch,hot_refusal,record_age_us,record_age_max_us,rx_latency_max_us,backlog,rx_queue_peak;
 struct r2_clock_quality quality;
 uint32_t admission_ms;
 bool source_eligible,gm_capable,hot_ready,gm_cold;
 uint32_t lease_expired,core_refusal;
 uint32_t hello_map_refusals,hello_width_us;
 uint32_t source_epoch,local_source_epoch,service_receipts,cycles,rx,authenticated,rejected,drops,errors,worker_max_us;
 unsigned self,coordinator,root,standby,members,phase;
 int error;
 uint8_t lamps[8];
 uint16_t rc_check_generation; /* Diagnostic stamp in existing status padding. */
 struct r2_link_quality_view reception; /* Existing selected timing-parent delivery. */
 bool normal;
 bool configured,active,closing,closed,serving,follower,follower_clock_valid;
 bool peer_delivery_confirmed,storage_window;
#ifdef R2_TZ_WIRE
 struct r2_tz tz;uint64_t tz_until_us; /* Uses existing status tail alignment. */
#endif
};
#if defined(CONFIG_ARM) && defined(R2_GM7_NATIVE) && defined(R2_TZ_WIRE) && !defined(R2_GM7_MODEL)
_Static_assert(sizeof(struct r2_service_status)==1296&&
 offsetof(struct r2_service_status,rc_check_generation)==1244&&
 offsetof(struct r2_service_status,reception)==1248,"Reuse native status padding without growth");
#endif
/* Descriptive factory keys only; unknown fields never grant source validity. */
static inline void r2_service_ui_label_ids(struct r2_ui_label_ids *out,const struct r2_service_status *s){
 out->root=s->root<4?s->identities[s->root]:0;
 out->upstream=s->relay.selected&&s->relay.parent_identity?s->relay.parent_identity:out->root;
 out->coordinator=s->coordinator<4?s->identities[s->coordinator]:0;
}
/* Before bt_enable. Provisioned identity and keys are not discovery inputs. */
int r2_service_configure(const struct r2_identity *id,const struct r2_enrollment *enrollment);
/* Main clock owner publishes an immutable copy. Worker never runs GNSS/parser. */
void r2_service_clock(const struct r2_clock *clock);
/* One finite bench treatment per boot; zero requests stop. Normal continuous
 * service is a separate profile, never implied by a finite test. */
int r2_service_start(uint32_t seconds,uint64_t arrival_ms);
int r2_service_run(uint64_t arrival_ms);
void r2_service_stop(void);
int r2_service_close_result(void);
void r2_service_snapshot(struct r2_service_status *out);
/* Optional UI reads only; unavailable mutex leaves output unusable. */
bool r2_service_snapshot_try(struct r2_service_status *,r2_ui_read_boundary_fn,void *);
bool r2_service_ui_details_try(struct r2_ui_model *,const struct r2_service_status *,
 r2_ui_read_boundary_fn,void *);
bool r2_service_ui_lock_probe(unsigned owner);
void r2_service_ui(struct r2_ui_model *out);
void r2_service_ui_logic(struct r2_ui_model *,const struct r2_service_status *);
void r2_service_ui_details(struct r2_ui_model *,const struct r2_service_status *);
void r2_service_supervise(void);

int r2_service_preflight(uint32_t seconds,uint64_t arrival_ms);
int r2_service_relay(uint64_t session,uint32_t seconds,uint64_t arrival_ms);

int r2_service_name(const char *name);

/* Pending-only cancellation; EBUSY once exclusive transition is admitted. */
int r2_service_relay_cancel(uint64_t session);

uint32_t r2_service_stack_unused(void);

int r2_service_profile(unsigned mode,uint64_t arrival_ms);
#ifdef R2_GM7_NATIVE
int r2_service_ble_rx(bool enabled,uint64_t arrival_ms);
bool r2_service_ble_rx_requested(void);
#endif
void r2_service_profile_status(uint32_t out[5]);
#ifdef R2_RC_PROFILE
int r2_service_test_parent(uint64_t parent,uint64_t arrival_ms);
void r2_service_test_parent_status(uint64_t *parent,bool *relay_only);
void r2_service_test_transport_status(uint32_t out[13]);
void r2_service_test_acquisition_status(uint32_t out[20]);
void r2_service_test_gm_admission_status(uint32_t out[7]);
void r2_service_test_connection_status(uint32_t out[20]);
#endif

#if defined(R2_SWITCHABLE_FIELD)
bool r2_switch_rc_active(void);
#endif
#if defined(R2_RC_PROFILE)
struct bt_conn;
int r2_rc7_gm_receive(struct bt_conn *,const void *,uint16_t,uint16_t);
#endif
```

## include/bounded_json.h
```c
/* Copyright(c)2026 Jonathan Yantis. SPDX-License-Identifier: MIT. */
#pragma once
#include <stdbool.h>
#include <stddef.h>
#include <stdint.h>
/* On-demand trusted firmware field tables only. No writable global state,
 * intermediate value array, allocation, transport, or device-side log store. */
struct r2_json {char *out;size_t capacity,used;int error;};
enum r2_json_type {
 R2_J_U32,R2_J_I32,R2_J_U64,R2_J_I64,R2_J_HEX64,R2_J_BOOL,
 R2_J_STRING,R2_J_CHARS,R2_J_LITERAL_STRING,R2_J_RAW,
 R2_J_U32_ARRAY,R2_J_I32_ARRAY,R2_J_U64_ARRAY,R2_J_U16,R2_J_U8
};
/* Array count occupies the high nibble: zero means16 for array types.
 * Other types use only the low nibble. Native32-bit descriptor is8 bytes. */
struct r2_json_field {const char *key;uint16_t offset;uint8_t base,type_count;};
#if UINTPTR_MAX==UINT32_MAX
_Static_assert(sizeof(struct r2_json_field)==8,"Bounded JSON native descriptor");
#endif
#define R2_JSON_FIELD(kind,key_,base_,type_,member_) \
 {key_,offsetof(type_,member_),base_,kind}
#define R2_JSON_ARRAY(kind,n,key_,base_,type_,member_) \
 {key_,offsetof(type_,member_),base_,(kind)|(((n)&15)<<4)}
#define R2_JSON_RAW(text_) {text_,0,0,R2_J_RAW}
#define R2_JSON_LITERAL(key_,text_) {key_ "\0" text_,0,0,R2_J_LITERAL_STRING}
void r2_json_init(struct r2_json *,char *,size_t);
void r2_json_text(struct r2_json *,const char *) __attribute__((noinline));
void r2_json_format(struct r2_json *,const char *,...) __attribute__((format(printf,2,3)));
void r2_json_u32_array(struct r2_json *,const uint32_t *,unsigned);
void r2_json_fields(struct r2_json *,const struct r2_json_field *,unsigned,
                    const void *const *,unsigned);
/* snprintf-compatible required length/truncation for bounded supported data;
 * a negative formatting/count error is retained rather than masked. */
int r2_json_result(const struct r2_json *);
```

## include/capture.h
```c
/* SPDX-License-Identifier: Apache-2.0 */
#pragma once
#include "precision.h"
struct gpio_dt_spec;
/* TIMER3 CC0=PPS, CC1=BLE ADDRESS, CC2=extension, CC3=USB SOF, CC4=LoRa, CC5=GM7 END (normal image). */
int r2_capture_start(const struct gpio_dt_spec *pps, int64_t now);
void r2_capture_poll(int64_t now);
bool r2_capture_pps(struct r2_capture *edge, int64_t now);
bool r2_capture_now(struct r2_capture *current);
/* Paired scalar current counter/monotonic sample under the capture lock.
 * Software presentation anchor, not a calibrated absolute/output timestamp. */
bool r2_capture_now_at(struct r2_capture *current,uint64_t *sampled_us);
bool r2_capture_radio(uint32_t raw,uint32_t epoch,struct r2_capture *event);
#if !defined(R2_DC_PROFILE) && !defined(R2_PC_PROFILE)
/* DIO1 must already have an allocated public GPIO-driver IN event. The
 * capture owner allocates a controller-excluding PPI route to CC4. */
int r2_capture_lora_attach(const struct gpio_dt_spec *dio);
/* Hardware one-shot: BUSY falling TX_START or DIO1 rising RX_HEADER. */
int r2_capture_lora_arm(bool transmit);
bool r2_capture_lora(struct r2_capture *event);
int r2_capture_lora_detach(void);
#endif
int r2_capture_stop(void);
int r2_capture_error(void);
#ifdef R2_USB_SOF_PROBE
#include "usb_sof_observer.h"
/* Stable register bracket and CC2 extension; no USB IRQ/event ownership. */
bool r2_capture_usb_sample(struct r2_usb_sof_snapshot *);
#endif
```

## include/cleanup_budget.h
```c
/* SPDX-License-Identifier: MIT
 * Copyright (c) 2026 Jonathan Yantis.
 * Cleanup only: never extends source, message, lease or output authority.
 */
#pragma once
#include <stdint.h>
#define R2_CALLBACK_RETIRE_US UINT64_C(5000000)
#define R2_LE_SUPERVISION_MAX_US UINT64_C(32000000)
#define R2_CLEANUP_DISPATCH_US UINT64_C(3000000)
#define R2_CLEANUP_US (R2_LE_SUPERVISION_MAX_US + R2_CALLBACK_RETIRE_US + R2_CLEANUP_DISPATCH_US)
#define R2_CLEANUP_MS (R2_CLEANUP_US / 1000)
```

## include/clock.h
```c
/* SPDX-License-Identifier: Apache-2.0 */
#ifndef R2_CLOCK_H
#define R2_CLOCK_H
#include <stdbool.h>
#include <stddef.h>
#include <stdint.h>
#include "time_zone_selector.h"
/* Software UTC estimate only. Does not steer Zephyr uptime or CLOCK hardware. */
#define R2_GPS_FRESH_US INT64_C(2500000)
#define R2_PPS_FRESH_US INT64_C(1500000)
#define R2_HOLDOVER_US INT64_C(60000000)
#define R2_INPUT_MAX_AGE_US INT64_C(250000)
#define R2_SLEW_PPB 5000000 /* 0.5%; output always advances, including negative corrections */
#define R2_RATE_LIMIT_PPB 2000000
#define R2_CLOCK_MAX_US (INT64_MAX/4)
#define R2_GGA_HDOP_UNKNOWN UINT16_MAX
enum r2_clock_state { R2_TIME_UNSET, R2_TIME_ACQUIRING, R2_TIME_COARSE,
  R2_TIME_DISCIPLINING, R2_TIME_SYNCED, R2_TIME_HOLDOVER, R2_TIME_EXPIRED, R2_TIME_FAULT };
enum r2_association { R2_ASSOC_UNKNOWN, R2_ASSOC_PRECEDING_UTC_SECOND };
enum r2_clock_fault { R2_INPUT_OK, R2_INPUT_CHECKSUM, R2_INPUT_SYNTAX, R2_INPUT_VOID,
  R2_INPUT_STALE, R2_INPUT_OVERFLOW, R2_INPUT_DRIVER, R2_INPUT_RESTART,
  R2_INPUT_JUMP, R2_INPUT_TIMEBASE, R2_INPUT_STOP };
struct r2_clock_view {
  int64_t utc_us, mono_us, gps_age_us, pps_age_us, phase_us, rx_age_us, gga_age_us;
  int32_t rate_ppb, input_error;
  uint32_t generation, source_epoch, pairs, accepted, rejected, faults;
  uint32_t pps_edges, pps_rejected, gga_count;
  unsigned state, reason, association, sats_used;
  bool valid, source_available, rate_valid, pps_present, fix_active;
  uint8_t rmc_status,rmc_mode; /* Last checksum-valid RMC fields, ASCII codes. */
  uint16_t gga_hdop_centi; /* Reported GGA HDOP only; never source/servo input. */
};
struct r2_clock {
  struct r2_clock_view view;
#ifdef R2_TZ_AUTO
  struct r2_position position; /* Own UART only; never timing qualification. */
#endif
  /* Source-owner translation snapshot; raw servo/eligibility stay separate. */
  int64_t translated_utc_us, translated_at_us;
  uint32_t translated_epoch;
  int64_t last_tick, wall, rate_remainder, slew_remainder, phase;
  int64_t last_rmc, last_rmc_utc, last_pps, last_pair_edge, last_pair_utc;
  int64_t fit_edge, fit_utc, last_good, line_start, last_gga, last_rx;
  uint32_t run_rmc, run_pair, fit_count;
  bool mapped, paired_once, fatal, stopped, line_drop;
  char line[128]; unsigned used;
};
void r2_clock_init(struct r2_clock *c,int64_t now,enum r2_association association);
void r2_clock_source_fence(struct r2_clock *c);
void r2_clock_advance(struct r2_clock *c,int64_t now);
void r2_clock_fault(struct r2_clock *c,enum r2_clock_fault reason,int64_t now);
void r2_clock_pps(struct r2_clock *c,int64_t edge,int64_t now);
void r2_clock_bytes(struct r2_clock *c,const uint8_t *bytes,size_t size,int64_t received,int64_t now);
/* Parser returns 1 active RMC, 2 void/invalid mode RMC, 3 GGA, 0 unrelated,
 * negative for malformed/checksum-invalid input. UTC is POSIX, not TAI. */
int r2_nmea(const char *line,int64_t *utc_us,unsigned *satellites);
bool r2_nmea_position(const char *line,struct r2_position *out,int64_t received);
/* Diagnostic-only checksum-valid GGA field7; exact unsigned centi units.
 * Blank, malformed, negative, >2 decimal places or overflow returns UNKNOWN.
 * Does not change ordinary GGA/RMC acceptance or any clock qualification. */
uint16_t r2_nmea_gga_hdop(const char *line);
#endif
```

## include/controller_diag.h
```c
/* MIT. Copyright (c) 2026 Jonathan Yantis. */
#pragma once
#include <stdint.h>
#include <stdbool.h>
#define R2_CONTROLLER_DIAG_WORDS 23u
#define R2_CONTROLLER_DIAG_FAILURE_ONLY (UINT32_C(1)<<30)
#define R2_CONTROLLER_DIAG_UNKNOWN (UINT32_C(1)<<31)
#define R2_CONTROLLER_DIAG_CONTEXT_TAG UINT32_C(0xd0000000)
#if defined(R2_CONTROLLER_FAULT_CAPTURE) || defined(R2_CONTROLLER_DIAGNOSTICS)
/* Pure existing diagnostic phase read; caller already holds IRQ mask. */
bool r2_controller_diag_ready_locked(void);
void r2_controller_diag_init(void);

/* Failure writers share the caller's one continuous IRQ mask. No locks,
 * allocation, callbacks or controller mutation inside these accessors. */
bool r2_controller_diag_failure_locked(uintptr_t callback,uintptr_t param);
void r2_controller_diag_entry_locked(unsigned index,uintptr_t callback,uintptr_t param,unsigned flags);
void r2_controller_diag_complete_locked(bool known);
#if !defined(R2_CONTROLLER_DIAGNOSTICS)
void r2_controller_diag_context_locked(uint32_t owner,uint32_t abort_cb,
                                      uint32_t ticker,uint32_t flags);
/* Defined only by the ordinary native pinned LLL diagnostic translation unit. */
void r2_controller_diag_lll_context_locked(void);
#endif
void r2_controller_diag_snapshot(uint32_t out[R2_CONTROLLER_DIAG_WORDS]);
#if defined(R2_CONTROLLER_DIAGNOSTICS)
void r2_controller_diag_count(unsigned word);
void r2_controller_diag_console(uint64_t boot,uint64_t now);
#endif
#endif
```

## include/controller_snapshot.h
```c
/* Copyright (c) 2026 Jonathan Yantis. SPDX-License-Identifier: MIT */
#ifndef PTOB_CONTROLLER_SNAPSHOT_H
#define PTOB_CONTROLLER_SNAPSHOT_H
#include <stdint.h>
struct ptob_ticker_snapshot {
    uint32_t ticks_periodic;
    uint16_t lazy_current;
    uint8_t valid, context_matches, req, ack, job_guard, worker_trigger;
};
struct ptob_controller_snapshot {
    uint16_t sampled_handle, lll_handle;
    uint16_t local_prt, remote_prt, prt_reload;
    uint16_t supervision_expire, connect_expire;
    uint8_t handle_in_range, handle_matches, head_present;
    uint8_t local_state, remote_state, reason_final;
    uint8_t head_proc, head_state, head_done;
    uint32_t access_address;
    uint16_t event_counter, latency_event;
    uint8_t role, ull_ref, latency_cancel, update_mark, disable_mark;
    struct ptob_ticker_snapshot ticker;
};
/* Caller holds irq_lock continuously across host handle/state and this call.
 * UP + no zero-latency writers only. No pointer survives the call.
 * 'matches' describes current handle, not original app incarnation. */
void ptob_controller_snapshot_locked(uint16_t handle,
                                    struct ptob_controller_snapshot *out);
/* Private build-generated diagnostic symbol; caller holds the same IRQ mask.
 * Context equality describes this instant, never a connection generation. */
void ptob_ticker_snapshot_locked(uint8_t instance, uint8_t ticker_id,
                                const void *context, struct ptob_ticker_snapshot *out);
void ptob_latency_cancel_fault(uint32_t status, void *param);
#define PTOB_LATENCY_CANCEL_FAULT_MARKER 0xC1u
#endif
```
